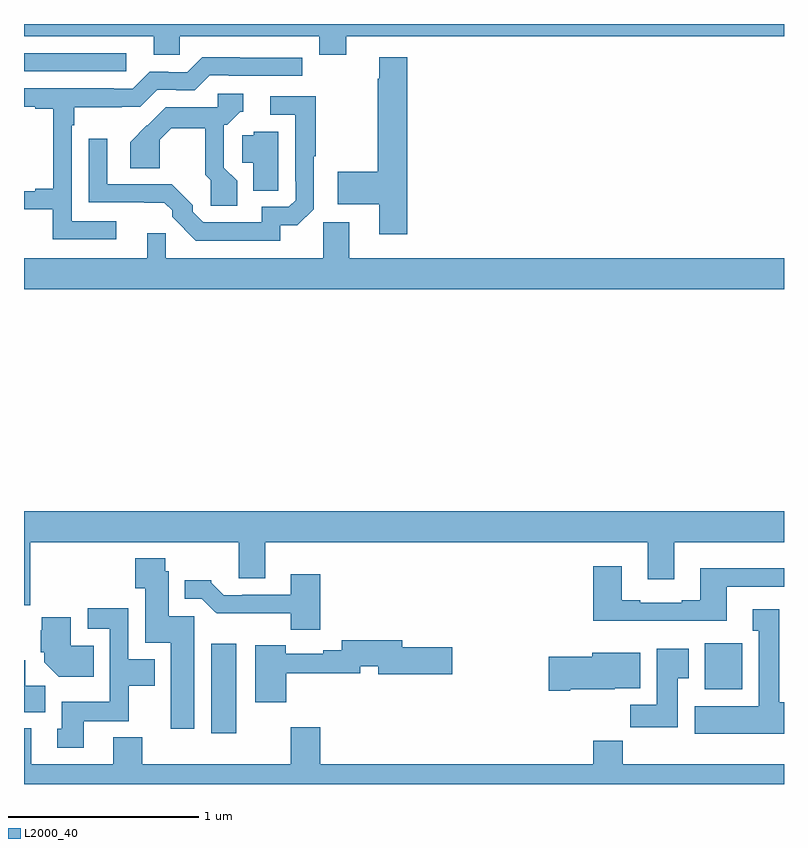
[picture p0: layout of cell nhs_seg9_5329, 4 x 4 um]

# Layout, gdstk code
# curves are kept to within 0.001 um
import gdstk
lib = gdstk.Library(unit=1e-6, precision=1e-09)
def R(c, l, rs):  # rectangles x0, y0, x1, y1
    for r in rs: c.add(gdstk.rectangle(r[:2], r[2:], *l))
def P(c, l, *ps):  # polygons
    for p in ps: c.add(gdstk.Polygon(p, *l))
L2000_40 = (2000, 40)

nhs_seg9_5329 = lib.new_cell('nhs_seg9_5329')
R(nhs_seg9_5329, L2000_40, [(421.985,1176.768,422.116,1177.237), (424.583,1176.998,424.78,1177.24), (421,1180.251,421.537,1180.347)])
P(nhs_seg9_5329, L2000_40, [(422.695,1180.436),(425,1180.436),(425,1180.5),(421,1180.5),(421,1180.436),(421.682,1180.436),(421.682,1180.338),(421.821,1180.338),(421.821,1180.436),(422.555,1180.436),(422.555,1180.337),(422.695,1180.337)],
  [(423.017,1180.324),(422.87,1180.324),(422.87,1180.211),(422.863,1180.211),(422.863,1179.722),(422.652,1179.722),(422.652,1179.551),(422.87,1179.551),(422.87,1179.393),(423.017,1179.393)],
  [(421.486,1179.462),(421.251,1179.462),(421.251,1179.968),(421.264,1179.968),(421.264,1180.062),(421.514,1180.062),(421.514,1180.065),(421.611,1180.065),(421.701,1180.155),(421.802,1180.155),(421.802,1180.152),(421.899,1180.152),(421.977,1180.23),(422.077,1180.23),(422.077,1180.227),(422.464,1180.227),(422.464,1180.323),(421.939,1180.324),(421.86,1180.245),(421.76,1180.245),(421.76,1180.248),(421.662,1180.248),(421.572,1180.158),(421.472,1180.158),(421.472,1180.161),(421,1180.161),(421,1180.065),(421.058,1180.065),(421.058,1180.053),(421.154,1180.053),(421.154,1179.634),(421.058,1179.634),(421.058,1179.621),(421,1179.621),(421,1179.524),(421.15,1179.524),(421.15,1179.366),(421.486,1179.366)],
  [(422.122,1179.674),(422.052,1179.744),(422.052,1179.969),(422.07,1179.969),(422.139,1180.038),(422.155,1180.038),(422.155,1180.134),(422.019,1180.134),(422.019,1180.062),(421.745,1180.062),(421.648,1179.965),(421.647,1179.966),(421.56,1179.878),(421.56,1179.742),(421.714,1179.742),(421.714,1179.89),(421.775,1179.951),(421.954,1179.951),(421.954,1179.706),(421.983,1179.677),(421.983,1179.543),(422.122,1179.543)],
  [(422.349,1179.441),(422.438,1179.441),(422.524,1179.526),(422.524,1179.805),(422.536,1179.805),(422.536,1180.119),(422.295,1180.119),(422.295,1180.023),(422.427,1180.023),(422.427,1179.673),(422.43,1179.673),(422.43,1179.573),(422.394,1179.537),(422.25,1179.537),(422.25,1179.456),(421.944,1179.456),(421.887,1179.513),(421.887,1179.547),(421.777,1179.657),(421.437,1179.657),(421.437,1179.895),(421.341,1179.895),(421.341,1179.561),(421.738,1179.56),(421.779,1179.52),(421.779,1179.485),(421.904,1179.36),(422.349,1179.36)],
  [(422.337,1179.934),(422.208,1179.934),(422.208,1179.915),(422.148,1179.915),(422.148,1179.77),(422.207,1179.77),(422.207,1179.622),(422.337,1179.622)],
  [(425,1179.268),(422.713,1179.268),(422.713,1179.456),(422.575,1179.456),(422.575,1179.268),(421.745,1179.268),(421.745,1179.398),(421.649,1179.398),(421.649,1179.268),(421,1179.268),(421,1179.104),(425,1179.104)],
  [(421.034,1177.772),(422.129,1177.772),(422.129,1177.582),(422.269,1177.582),(422.269,1177.772),(424.283,1177.772),(424.283,1177.578),(424.423,1177.578),(424.423,1177.772),(425,1177.772),(425,1177.936),(421,1177.936),(421,1177.44),(421.034,1177.44)],
  [(421.897,1177.383),(421.762,1177.383),(421.762,1177.62),(421.743,1177.62),(421.743,1177.687),(421.586,1177.687),(421.586,1177.531),(421.637,1177.531),(421.637,1177.244),(421.772,1177.244),(421.772,1176.792),(421.897,1176.792)],
  [(424.699,1177.539),(425,1177.539),(425,1177.636),(424.559,1177.636),(424.559,1177.468),(424.463,1177.468),(424.463,1177.455),(424.243,1177.455),(424.243,1177.468),(424.147,1177.468),(424.147,1177.645),(423.995,1177.645),(423.995,1177.358),(424.699,1177.358)],
  [(422.558,1177.603),(422.405,1177.603),(422.405,1177.497),(422.149,1177.497),(422.149,1177.494),(422.05,1177.494),(421.986,1177.558),(421.986,1177.573),(421.847,1177.573),(421.847,1177.476),(421.935,1177.476),(422.014,1177.398),(422.403,1177.398),(422.403,1177.313),(422.558,1177.313)],
  [(421.315,1176.83),(421.551,1176.83),(421.551,1177.016),(421.687,1177.016),(421.687,1177.156),(421.548,1177.156),(421.548,1177.426),(421.335,1177.426),(421.335,1177.317),(421.452,1177.317),(421.452,1176.934),(421.199,1176.934),(421.199,1176.792),(421.175,1176.792),(421.175,1176.69),(421.315,1176.69)],
  [(425,1176.93),(424.975,1176.93),(424.975,1177.42),(424.835,1177.42),(424.835,1177.307),(424.868,1177.307),(424.868,1176.91),(424.529,1176.91),(424.529,1176.764),(425,1176.764)],
  [(421.367,1177.228),(421.246,1177.228),(421.246,1177.378),(421.094,1177.378),(421.094,1177.308),(421.088,1177.308),(421.088,1177.194),(421.106,1177.194),(421.106,1177.142),(421.184,1177.064),(421.367,1177.064)],
  [(422.38,1177.084),(422.769,1177.084),(422.769,1177.12),(422.864,1177.12),(422.864,1177.078),(423.253,1177.078),(423.253,1177.22),(422.992,1177.22),(422.992,1177.256),(422.673,1177.256),(422.673,1177.205),(422.576,1177.205),(422.576,1177.185),(422.378,1177.185),(422.378,1177.231),(422.216,1177.231),(422.216,1176.93),(422.38,1176.93)],
  [(424.441,1177.057),(424.498,1177.057),(424.498,1177.213),(424.331,1177.213),(424.331,1176.916),(424.192,1176.916),(424.192,1176.798),(424.441,1176.798)],
  [(423.874,1176.998),(424.11,1176.998),(424.11,1177.004),(424.243,1177.004),(424.243,1177.192),(423.992,1177.192),(423.992,1177.169),(423.762,1177.169),(423.762,1176.991),(423.874,1176.991)],
  [(421.111,1177.016),(421.006,1177.016),(421.006,1177.152),(421,1177.152),(421,1176.878),(421.111,1176.878)],
  [(425,1176.604),(424.151,1176.604),(424.151,1176.728),(423.995,1176.728),(423.995,1176.604),(422.558,1176.604),(422.558,1176.799),(422.405,1176.799),(422.405,1176.604),(421.622,1176.604),(421.622,1176.745),(421.469,1176.745),(421.469,1176.604),(421.039,1176.604),(421.039,1176.793),(421,1176.793),(421,1176.5),(425,1176.5)])

lib.write_gds('nhs_seg9_5329.gds')
